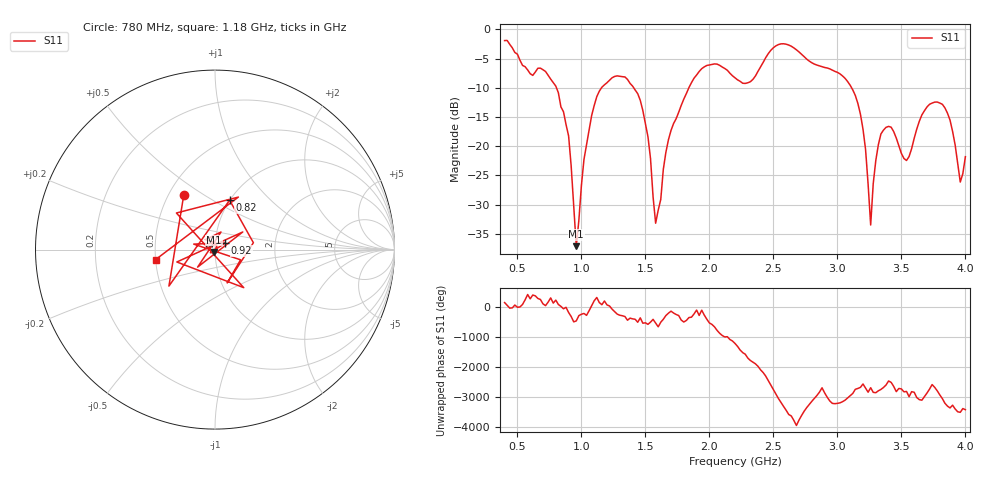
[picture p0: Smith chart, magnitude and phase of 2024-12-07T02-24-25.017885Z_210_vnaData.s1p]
!Created with skrf (http://scikit-rf.org).
# Hz S RI R 50.0
!freq ReS11 ImS11
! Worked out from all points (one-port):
!   181 points, 400 MHz to 4 GHz, reference 50 ohm
!   lowest |S11| = -37.1 dB at 960 MHz (marker M1), VSWR 1.03, Z = 49.4 - j1.26 ohm
!   |S11| at or under -10 dB: 805.3 MHz to 1.157 GHz (351.4 MHz wide, 35.8 % of centre); 1.409 GHz to 1.839 GHz (430.2 MHz wide, 26.5 % of centre); 3.111 GHz to end of sweep
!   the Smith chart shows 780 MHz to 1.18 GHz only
!   S11 on the Smith chart (normalised r, x): 780 MHz: 0.60, +0.41; 820 MHz: 1.00, +0.60; 920 MHz: 1.12, +0.08; 1.18 GHz: 0.50, -0.06
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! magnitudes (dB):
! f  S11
! 400 MHz  -1.9
! 780 MHz  -9.1
! 820 MHz  -10.8
! 860 MHz  -14.1
! 920 MHz  -23.4
! 960 MHz  -37.1
! 1.04 GHz  -19.7
! 1.18 GHz  -9.5
! 1.3 GHz  -8.0
! 1.48 GHz  -13.9
! 1.54 GHz  -22.1
! 1.58 GHz  -33.2
! 1.68 GHz  -18.9
! 1.76 GHz  -14.2
! 1.96 GHz  -6.4
! 2.2 GHz  -8.3
! 2.66 GHz  -3.2
! 3.1 GHz  -9.6
! 3.2 GHz  -17.1
! 3.26 GHz  -33.5
! 3.3 GHz  -22.4
! 3.34 GHz  -17.9
! 3.56 GHz  -21.7
! 3.66 GHz  -14.6
! 3.78 GHz  -12.4
! 3.88 GHz  -15.5
! 3.96 GHz  -26.1
! 4 GHz  -21.8
